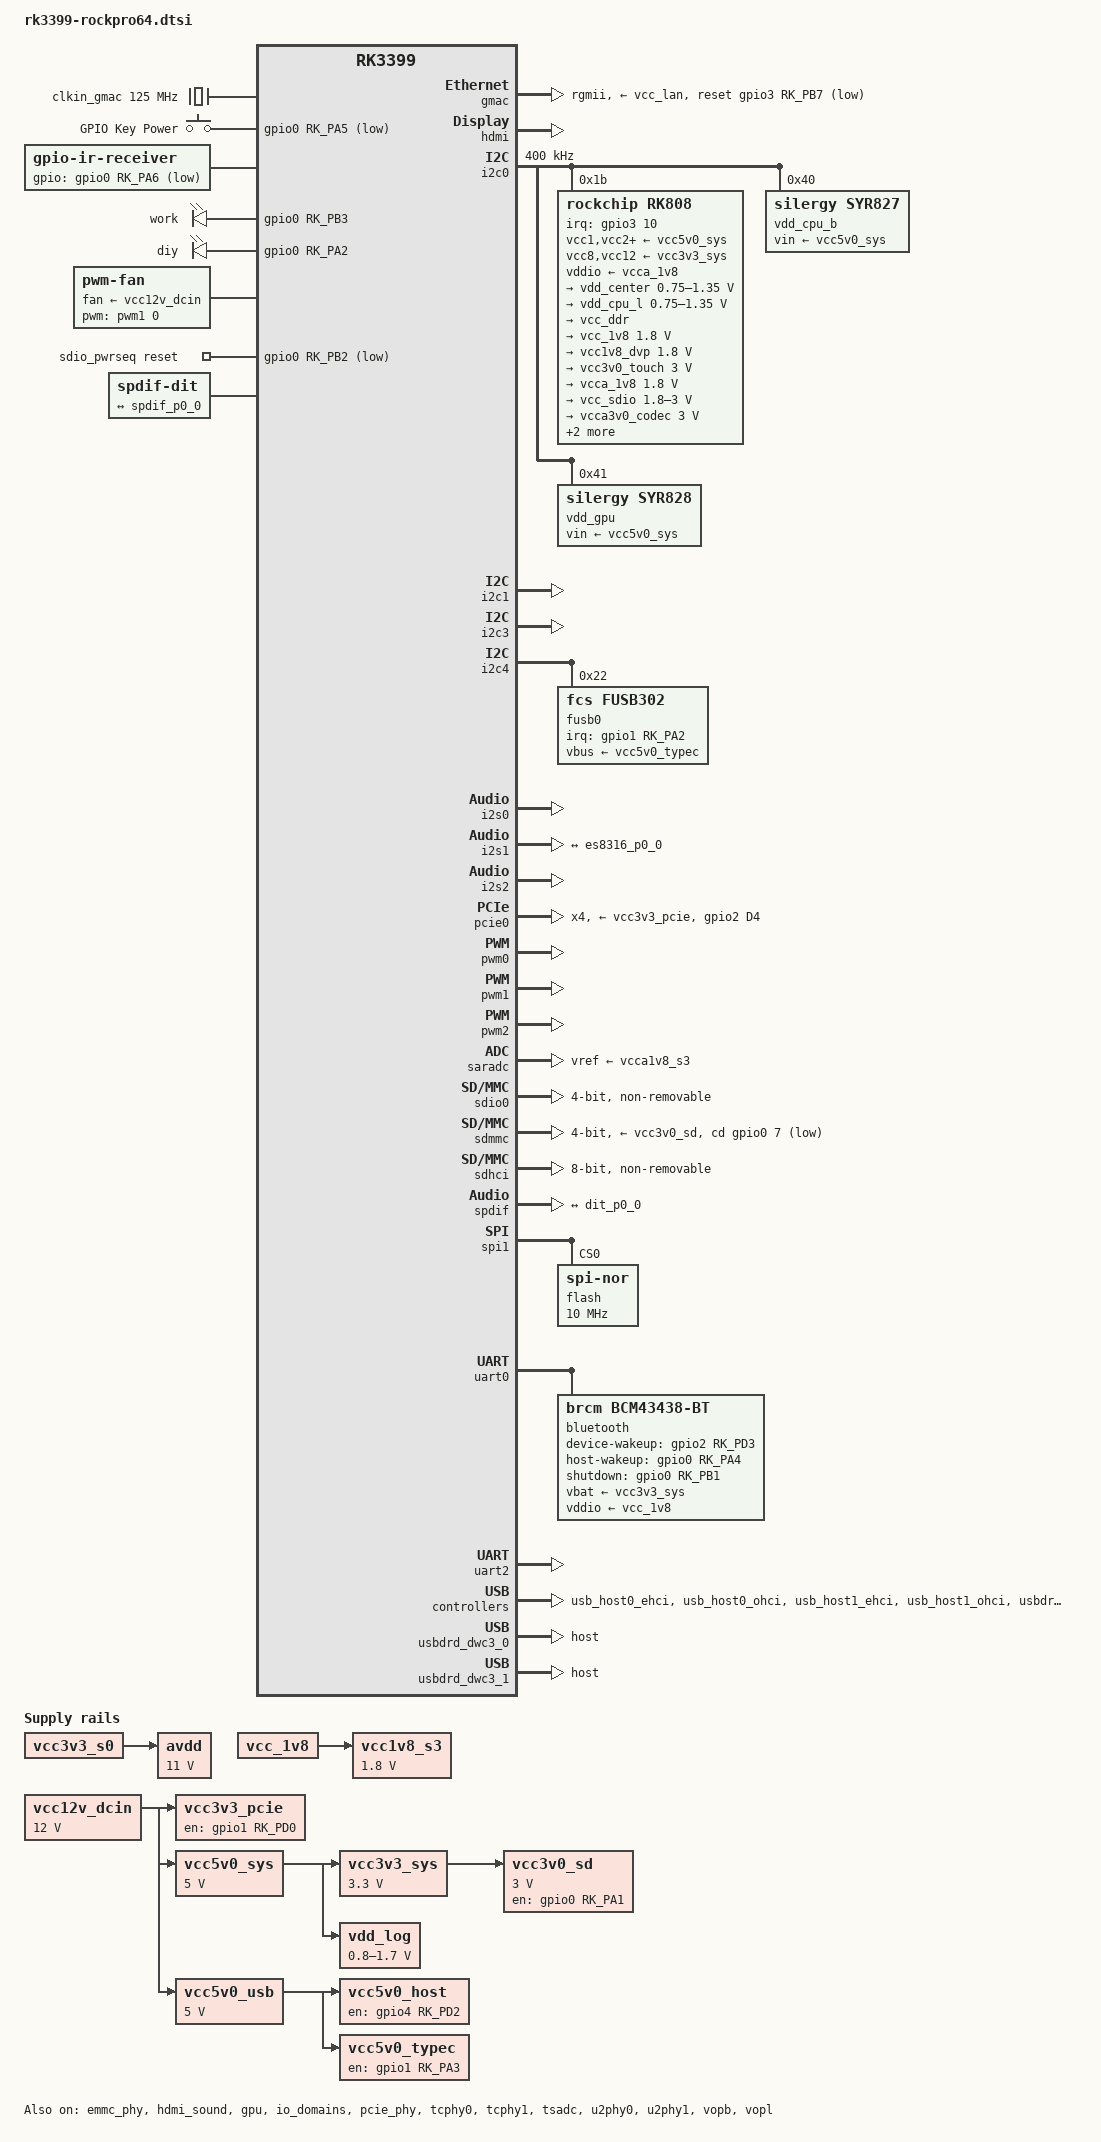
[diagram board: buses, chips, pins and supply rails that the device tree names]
// SPDX-License-Identifier: (GPL-2.0+ OR MIT)
/*
 * Copyright (c) 2017 Fuzhou Rockchip Electronics Co., Ltd.
 * Copyright (c) 2018 Akash Gajjar <Akash_Gajjar@mentor.com>
 */

#include <dt-bindings/input/linux-event-codes.h>
#include <dt-bindings/pwm/pwm.h>
#include "rk3399.dtsi"

/ {
	aliases {
		ethernet0 = &gmac;
		mmc0 = &sdio0;
		mmc1 = &sdmmc;
		mmc2 = &sdhci;
	};

	chosen {
		stdout-path = "serial2:1500000n8";
	};

	/* enable for panel backlight support */
	backlight: backlight {
		compatible = "pwm-backlight";
		brightness-levels = <0 4 8 16 32 64 128 255>;
		default-brightness-level = <5>;
		pwms = <&pwm0 0 1000000 0>;
		status = "disabled";
	};

	clkin_gmac: external-gmac-clock {
		compatible = "fixed-clock";
		clock-frequency = <125000000>;
		clock-output-names = "clkin_gmac";
		#clock-cells = <0>;
	};

	gpio-keys {
		compatible = "gpio-keys";
		autorepeat;
		pinctrl-names = "default";
		pinctrl-0 = <&pwrbtn>;

		key-power {
			debounce-interval = <100>;
			gpios = <&gpio0 RK_PA5 GPIO_ACTIVE_LOW>;
			label = "GPIO Key Power";
			linux,code = <KEY_POWER>;
			wakeup-source;
		};
	};

	ir-receiver {
		compatible = "gpio-ir-receiver";
		gpios = <&gpio0 RK_PA6 GPIO_ACTIVE_LOW>;
		pinctrl-0 = <&ir_int>;
		pinctrl-names = "default";
	};

	leds {
		compatible = "gpio-leds";
		pinctrl-names = "default";
		pinctrl-0 = <&work_led_pin>, <&diy_led_pin>;

		work_led: led-0 {
			label = "work";
			default-state = "on";
			gpios = <&gpio0 RK_PB3 GPIO_ACTIVE_HIGH>;
		};

		diy_led: led-1 {
			label = "diy";
			default-state = "off";
			gpios = <&gpio0 RK_PA2 GPIO_ACTIVE_HIGH>;
		};
	};

	fan: pwm-fan {
		compatible = "pwm-fan";
		cooling-levels = <0 100 150 200 255>;
		#cooling-cells = <2>;
		fan-supply = <&vcc12v_dcin>;
		pwms = <&pwm1 0 50000 0>;
	};

	sdio_pwrseq: sdio-pwrseq {
		compatible = "mmc-pwrseq-simple";
		clocks = <&rk808 1>;
		clock-names = "ext_clock";
		pinctrl-names = "default";
		pinctrl-0 = <&wifi_enable_h>;
		reset-gpios = <&gpio0 RK_PB2 GPIO_ACTIVE_LOW>;
	};

	sound {
		compatible = "audio-graph-card";
		label = "Analog";
		dais = <&i2s1_p0>;
	};

	sound-dit {
		compatible = "audio-graph-card";
		label = "SPDIF";
		dais = <&spdif_p0>;
	};

	spdif-dit {
		compatible = "linux,spdif-dit";
		#sound-dai-cells = <0>;

		port {
			dit_p0_0: endpoint {
				remote-endpoint = <&spdif_p0_0>;
			};
		};
	};

	avdd: regulator-avdd {
		compatible = "regulator-fixed";
		regulator-name = "avdd";
		regulator-min-microvolt = <11000000>;
		regulator-max-microvolt = <11000000>;
		vin-supply = <&vcc3v3_s0>;
	};

	vcc12v_dcin: regulator-vcc12v-dcin {
		compatible = "regulator-fixed";
		regulator-name = "vcc12v_dcin";
		regulator-always-on;
		regulator-boot-on;
		regulator-min-microvolt = <12000000>;
		regulator-max-microvolt = <12000000>;
	};

	/* switched by pmic_sleep */
	vcc1v8_s3: vcca1v8_s3: regulator-vcc1v8-s3 {
		compatible = "regulator-fixed";
		regulator-name = "vcc1v8_s3";
		regulator-always-on;
		regulator-boot-on;
		regulator-min-microvolt = <1800000>;
		regulator-max-microvolt = <1800000>;
		vin-supply = <&vcc_1v8>;
	};

	/* micro SD card power */
	vcc3v0_sd: regulator-vcc3v0-sd {
		compatible = "regulator-fixed";
		enable-active-high;
		gpio = <&gpio0 RK_PA1 GPIO_ACTIVE_HIGH>;
		pinctrl-names = "default";
		pinctrl-0 = <&sdmmc0_pwr_h>;
		regulator-name = "vcc3v0_sd";
		regulator-always-on;
		regulator-min-microvolt = <3000000>;
		regulator-max-microvolt = <3000000>;
		vin-supply = <&vcc3v3_sys>;

		regulator-state-mem {
			regulator-off-in-suspend;
		};
	};

	vcc3v3_pcie: regulator-vcc3v3-pcie {
		compatible = "regulator-fixed";
		enable-active-high;
		gpio = <&gpio1 RK_PD0 GPIO_ACTIVE_HIGH>;
		pinctrl-names = "default";
		pinctrl-0 = <&pcie_pwr_en>;
		regulator-name = "vcc3v3_pcie";
		regulator-always-on;
		regulator-boot-on;
		vin-supply = <&vcc12v_dcin>;
	};

	vcc3v3_sys: regulator-vcc3v3-sys {
		compatible = "regulator-fixed";
		regulator-name = "vcc3v3_sys";
		regulator-always-on;
		regulator-boot-on;
		regulator-min-microvolt = <3300000>;
		regulator-max-microvolt = <3300000>;
		vin-supply = <&vcc5v0_sys>;
	};

	/* Actually 3 regulators (host0, 1, 2) controlled by the same gpio */
	vcc5v0_host: regulator-vcc5v0-host {
		compatible = "regulator-fixed";
		enable-active-high;
		gpio = <&gpio4 RK_PD2 GPIO_ACTIVE_HIGH>;
		pinctrl-names = "default";
		pinctrl-0 = <&vcc5v0_host_en>;
		regulator-name = "vcc5v0_host";
		regulator-always-on;
		vin-supply = <&vcc5v0_usb>;
	};

	vcc5v0_typec: regulator-vcc5v0-typec {
		compatible = "regulator-fixed";
		enable-active-high;
		gpio = <&gpio1 RK_PA3 GPIO_ACTIVE_HIGH>;
		pinctrl-names = "default";
		pinctrl-0 = <&vcc5v0_typec_en>;
		regulator-name = "vcc5v0_typec";
		regulator-always-on;
		vin-supply = <&vcc5v0_usb>;
	};

	vcc5v0_sys: regulator-vcc5v0-sys {
		compatible = "regulator-fixed";
		regulator-name = "vcc5v0_sys";
		regulator-always-on;
		regulator-boot-on;
		regulator-min-microvolt = <5000000>;
		regulator-max-microvolt = <5000000>;
		vin-supply = <&vcc12v_dcin>;
	};

	vcc5v0_usb: regulator-vcc5v0-usb {
		compatible = "regulator-fixed";
		regulator-name = "vcc5v0_usb";
		regulator-always-on;
		regulator-boot-on;
		regulator-min-microvolt = <5000000>;
		regulator-max-microvolt = <5000000>;
		vin-supply = <&vcc12v_dcin>;
	};

	vdd_log: regulator-vdd-log {
		compatible = "pwm-regulator";
		pwms = <&pwm2 0 25000 1>;
		pwm-supply = <&vcc5v0_sys>;
		regulator-name = "vdd_log";
		regulator-always-on;
		regulator-boot-on;
		regulator-min-microvolt = <800000>;
		regulator-max-microvolt = <1700000>;
	};
};

&cpu_l0 {
	cpu-supply = <&vdd_cpu_l>;
};

&cpu_l1 {
	cpu-supply = <&vdd_cpu_l>;
};

&cpu_l2 {
	cpu-supply = <&vdd_cpu_l>;
};

&cpu_l3 {
	cpu-supply = <&vdd_cpu_l>;
};

&cpu_b0 {
	cpu-supply = <&vdd_cpu_b>;
};

&cpu_b1 {
	cpu-supply = <&vdd_cpu_b>;
};

&cpu_thermal {
	trips {
		cpu_warm: cpu_warm {
			temperature = <55000>;
			hysteresis = <2000>;
			type = "active";
		};

		cpu_hot: cpu_hot {
			temperature = <65000>;
			hysteresis = <2000>;
			type = "active";
		};
	};

	cooling-maps {
		map2 {
			trip = <&cpu_warm>;
			cooling-device = <&fan THERMAL_NO_LIMIT 1>;
		};

		map3 {
			trip = <&cpu_hot>;
			cooling-device = <&fan 2 THERMAL_NO_LIMIT>;
		};
	};
};

&emmc_phy {
	status = "okay";
};

&gmac {
	assigned-clocks = <&cru SCLK_RMII_SRC>;
	assigned-clock-parents = <&clkin_gmac>;
	clock_in_out = "input";
	phy-supply = <&vcc_lan>;
	phy-mode = "rgmii";
	pinctrl-names = "default";
	pinctrl-0 = <&rgmii_pins>;
	snps,reset-gpio = <&gpio3 RK_PB7 GPIO_ACTIVE_LOW>;
	snps,reset-active-low;
	snps,reset-delays-us = <0 10000 50000>;
	tx_delay = <0x28>;
	rx_delay = <0x11>;
	status = "okay";
};

&hdmi {
	ddc-i2c-bus = <&i2c3>;
	pinctrl-names = "default";
	pinctrl-0 = <&hdmi_cec>;
	status = "okay";
};

&hdmi_sound {
	status = "okay";
};

&gpu {
	mali-supply = <&vdd_gpu>;
	status = "okay";
};

&i2c0 {
	clock-frequency = <400000>;
	i2c-scl-rising-time-ns = <168>;
	i2c-scl-falling-time-ns = <4>;
	status = "okay";

	rk808: pmic@1b {
		compatible = "rockchip,rk808";
		reg = <0x1b>;
		interrupt-parent = <&gpio3>;
		interrupts = <10 IRQ_TYPE_LEVEL_LOW>;
		#clock-cells = <1>;
		clock-output-names = "xin32k", "rk808-clkout2";
		pinctrl-names = "default";
		pinctrl-0 = <&pmic_int_l>;
		system-power-controller;
		wakeup-source;

		vcc1-supply = <&vcc5v0_sys>;
		vcc2-supply = <&vcc5v0_sys>;
		vcc3-supply = <&vcc5v0_sys>;
		vcc4-supply = <&vcc5v0_sys>;
		vcc6-supply = <&vcc5v0_sys>;
		vcc7-supply = <&vcc5v0_sys>;
		vcc8-supply = <&vcc3v3_sys>;
		vcc9-supply = <&vcc5v0_sys>;
		vcc10-supply = <&vcc5v0_sys>;
		vcc11-supply = <&vcc5v0_sys>;
		vcc12-supply = <&vcc3v3_sys>;
		vddio-supply = <&vcca_1v8>;

		regulators {
			vdd_center: DCDC_REG1 {
				regulator-name = "vdd_center";
				regulator-always-on;
				regulator-boot-on;
				regulator-min-microvolt = <750000>;
				regulator-max-microvolt = <1350000>;
				regulator-ramp-delay = <6001>;
				regulator-state-mem {
					regulator-off-in-suspend;
				};
			};

			vdd_cpu_l: DCDC_REG2 {
				regulator-name = "vdd_cpu_l";
				regulator-always-on;
				regulator-boot-on;
				regulator-min-microvolt = <750000>;
				regulator-max-microvolt = <1350000>;
				regulator-ramp-delay = <6001>;
				regulator-state-mem {
					regulator-off-in-suspend;
				};
			};

			vcc_ddr: DCDC_REG3 {
				regulator-name = "vcc_ddr";
				regulator-always-on;
				regulator-boot-on;
				regulator-state-mem {
					regulator-on-in-suspend;
				};
			};

			vcc_1v8: DCDC_REG4 {
				regulator-name = "vcc_1v8";
				regulator-always-on;
				regulator-boot-on;
				regulator-min-microvolt = <1800000>;
				regulator-max-microvolt = <1800000>;
				regulator-state-mem {
					regulator-on-in-suspend;
					regulator-suspend-microvolt = <1800000>;
				};
			};

			vcc1v8_dvp: LDO_REG1 {
				regulator-name = "vcc1v8_dvp";
				regulator-always-on;
				regulator-boot-on;
				regulator-min-microvolt = <1800000>;
				regulator-max-microvolt = <1800000>;
				regulator-state-mem {
					regulator-off-in-suspend;
				};
			};

			vcc3v0_touch: LDO_REG2 {
				regulator-name = "vcc3v0_touch";
				regulator-min-microvolt = <3000000>;
				regulator-max-microvolt = <3000000>;
				regulator-state-mem {
					regulator-off-in-suspend;
				};
			};

			vcca_1v8: LDO_REG3 {
				regulator-name = "vcca_1v8";
				regulator-always-on;
				regulator-boot-on;
				regulator-min-microvolt = <1800000>;
				regulator-max-microvolt = <1800000>;
				regulator-state-mem {
					regulator-on-in-suspend;
					regulator-suspend-microvolt = <1800000>;
				};
			};

			vcc_sdio: LDO_REG4 {
				regulator-name = "vcc_sdio";
				regulator-always-on;
				regulator-boot-on;
				regulator-min-microvolt = <1800000>;
				regulator-max-microvolt = <3000000>;
				regulator-state-mem {
					regulator-on-in-suspend;
					regulator-suspend-microvolt = <3000000>;
				};
			};

			vcca3v0_codec: LDO_REG5 {
				regulator-name = "vcca3v0_codec";
				regulator-always-on;
				regulator-boot-on;
				regulator-min-microvolt = <3000000>;
				regulator-max-microvolt = <3000000>;
				regulator-state-mem {
					regulator-off-in-suspend;
				};
			};

			vcc_1v5: LDO_REG6 {
				regulator-name = "vcc_1v5";
				regulator-always-on;
				regulator-boot-on;
				regulator-min-microvolt = <1500000>;
				regulator-max-microvolt = <1500000>;
				regulator-state-mem {
					regulator-on-in-suspend;
					regulator-suspend-microvolt = <1500000>;
				};
			};

			vcca1v8_codec: LDO_REG7 {
				regulator-name = "vcca1v8_codec";
				regulator-always-on;
				regulator-boot-on;
				regulator-min-microvolt = <1800000>;
				regulator-max-microvolt = <1800000>;
				regulator-state-mem {
					regulator-off-in-suspend;
				};
			};

			vcc_3v0: LDO_REG8 {
				regulator-name = "vcc_3v0";
				regulator-always-on;
				regulator-boot-on;
				regulator-min-microvolt = <3000000>;
				regulator-max-microvolt = <3000000>;
				regulator-state-mem {
					regulator-on-in-suspend;
					regulator-suspend-microvolt = <3000000>;
				};
			};

			vcc3v3_s3: vcc_lan: SWITCH_REG1 {
				regulator-name = "vcc3v3_s3";
				regulator-always-on;
				regulator-boot-on;
				regulator-state-mem {
					regulator-off-in-suspend;
				};
			};

			vcc3v3_s0: SWITCH_REG2 {
				regulator-name = "vcc3v3_s0";
				regulator-state-mem {
					regulator-off-in-suspend;
				};
			};
		};
	};

	vdd_cpu_b: regulator@40 {
		compatible = "silergy,syr827";
		reg = <0x40>;
		fcs,suspend-voltage-selector = <1>;
		pinctrl-names = "default";
		pinctrl-0 = <&vsel1_pin>;
		regulator-name = "vdd_cpu_b";
		regulator-min-microvolt = <712500>;
		regulator-max-microvolt = <1500000>;
		regulator-ramp-delay = <1000>;
		regulator-always-on;
		regulator-boot-on;
		vin-supply = <&vcc5v0_sys>;

		regulator-state-mem {
			regulator-off-in-suspend;
		};
	};

	vdd_gpu: regulator@41 {
		compatible = "silergy,syr828";
		reg = <0x41>;
		fcs,suspend-voltage-selector = <1>;
		pinctrl-names = "default";
		pinctrl-0 = <&vsel2_pin>;
		regulator-name = "vdd_gpu";
		regulator-min-microvolt = <712500>;
		regulator-max-microvolt = <1500000>;
		regulator-ramp-delay = <1000>;
		regulator-always-on;
		regulator-boot-on;
		vin-supply = <&vcc5v0_sys>;

		regulator-state-mem {
			regulator-off-in-suspend;
		};
	};
};

&i2c1 {
	i2c-scl-rising-time-ns = <300>;
	i2c-scl-falling-time-ns = <15>;
	status = "okay";
};

&i2c3 {
	i2c-scl-rising-time-ns = <450>;
	i2c-scl-falling-time-ns = <15>;
	status = "okay";
};

&i2c4 {
	i2c-scl-rising-time-ns = <600>;
	i2c-scl-falling-time-ns = <20>;
	status = "okay";

	fusb0: typec-portc@22 {
		compatible = "fcs,fusb302";
		reg = <0x22>;
		interrupt-parent = <&gpio1>;
		interrupts = <RK_PA2 IRQ_TYPE_LEVEL_LOW>;
		pinctrl-names = "default";
		pinctrl-0 = <&fusb0_int>;
		vbus-supply = <&vcc5v0_typec>;
		status = "okay";
	};

	/* enable for pine64 touch screen support */
	touch: touchscreen@5d {
		compatible = "goodix,gt911";
		reg = <0x5d>;
		interrupt-parent = <&gpio4>;
		interrupts = <RK_PD5 IRQ_TYPE_EDGE_FALLING>;
		AVDD28-supply = <&vcc3v0_touch>;
		VDDIO-supply = <&vcc3v0_touch>;
		irq-gpios = <&gpio4 RK_PD5 GPIO_ACTIVE_HIGH>;
		reset-gpios = <&gpio4 RK_PD6 GPIO_ACTIVE_HIGH>;
		status = "disabled";
	};
};

&i2s0 {
	rockchip,playback-channels = <8>;
	rockchip,capture-channels = <8>;
	status = "okay";
};

&i2s1 {
	rockchip,playback-channels = <2>;
	rockchip,capture-channels = <2>;
	status = "okay";

	i2s1_p0: port {
		i2s1_p0_0: endpoint {
			dai-format = "i2s";
			mclk-fs = <256>;
			remote-endpoint = <&es8316_p0_0>;
		};
	};
};

&i2s2 {
	status = "okay";
};

&io_domains {
	status = "okay";

	bt656-supply = <&vcc1v8_dvp>;
	audio-supply = <&vcc_3v0>;
	sdmmc-supply = <&vcc_sdio>;
	gpio1830-supply = <&vcc_3v0>;
};

/* enable for pine64 panel display support */
&mipi_dsi {
	clock-master;
	status = "disabled";

	ports {
		mipi_out: port@1 {
			reg = <1>;

			mipi_out_panel: endpoint {
				remote-endpoint = <&mipi_in_panel>;
			};
		};
	};

	mipi_panel: panel@0 {
		compatible = "feiyang,fy07024di26a30d";
		reg = <0>;
		avdd-supply = <&avdd>;
		backlight = <&backlight>;
		dvdd-supply = <&vcc3v3_s0>;

		port {
			mipi_in_panel: endpoint {
				remote-endpoint = <&mipi_out_panel>;
			};
		};
	};
};

&pcie0 {
	ep-gpios = <&gpio2 RK_PD4 GPIO_ACTIVE_HIGH>;
	num-lanes = <4>;
	pinctrl-names = "default";
	pinctrl-0 = <&pcie_perst>;
	vpcie12v-supply = <&vcc12v_dcin>;
	vpcie3v3-supply = <&vcc3v3_pcie>;
	status = "okay";
};

&pcie_phy {
	status = "okay";
};

&pmu_io_domains {
	pmu1830-supply = <&vcc_3v0>;
	status = "okay";
};

&pinctrl {
	bt {
		bt_enable_h: bt-enable-h {
			rockchip,pins = <0 RK_PB1 RK_FUNC_GPIO &pcfg_pull_none>;
		};

		bt_host_wake_l: bt-host-wake-l {
			rockchip,pins = <0 RK_PA4 RK_FUNC_GPIO &pcfg_pull_down>;
		};

		bt_wake_l: bt-wake-l {
			rockchip,pins = <2 RK_PD3 RK_FUNC_GPIO &pcfg_pull_none>;
		};
	};

	buttons {
		pwrbtn: pwrbtn {
			rockchip,pins = <0 RK_PA5 RK_FUNC_GPIO &pcfg_pull_up>;
		};
	};

	fusb302x {
		fusb0_int: fusb0-int {
			rockchip,pins = <1 RK_PA2 RK_FUNC_GPIO &pcfg_pull_up>;
		};
	};

	ir {
		ir_int: ir-int {
			rockchip,pins = <0 RK_PA6 RK_FUNC_GPIO &pcfg_pull_none>;
		};
	};

	leds {
		work_led_pin: work-led-pin {
			rockchip,pins = <0 RK_PB3 RK_FUNC_GPIO &pcfg_pull_none>;
		};

		diy_led_pin: diy-led-pin {
			rockchip,pins = <0 RK_PA2 RK_FUNC_GPIO &pcfg_pull_none>;
		};
	};

	pcie {
		pcie_perst: pcie-perst {
			rockchip,pins = <2 RK_PD4 RK_FUNC_GPIO &pcfg_pull_none>;
		};

		pcie_pwr_en: pcie-pwr-en {
			rockchip,pins = <1 RK_PD0 RK_FUNC_GPIO &pcfg_pull_none>;
		};
	};

	pmic {
		pmic_int_l: pmic-int-l {
			rockchip,pins = <3 RK_PB2 RK_FUNC_GPIO &pcfg_pull_up>;
		};

		vsel1_pin: vsel1-pin {
			rockchip,pins = <1 RK_PC1 RK_FUNC_GPIO &pcfg_pull_down>;
		};

		vsel2_pin: vsel2-pin {
			rockchip,pins = <1 RK_PB6 RK_FUNC_GPIO &pcfg_pull_down>;
		};
	};

	sdcard {
		sdmmc0_pwr_h: sdmmc0-pwr-h {
			rockchip,pins = <0 RK_PA1 RK_FUNC_GPIO &pcfg_pull_none>;
		};

	};

	sdio-pwrseq {
		wifi_enable_h: wifi-enable-h {
			rockchip,pins = <0 RK_PB2 RK_FUNC_GPIO &pcfg_pull_none>;
		};
	};

	usb-typec {
		vcc5v0_typec_en: vcc5v0_typec_en {
			rockchip,pins = <1 RK_PA3 RK_FUNC_GPIO &pcfg_pull_up>;
		};
	};

	usb2 {
		vcc5v0_host_en: vcc5v0-host-en {
			rockchip,pins = <4 RK_PD2 RK_FUNC_GPIO &pcfg_pull_none>;
		};
	};
};

&pwm0 {
	status = "okay";
};

&pwm1 {
	status = "okay";
};

&pwm2 {
	status = "okay";
};

&saradc {
	vref-supply = <&vcca1v8_s3>;
	status = "okay";
};

&sdio0 {
	bus-width = <4>;
	cap-sd-highspeed;
	cap-sdio-irq;
	disable-wp;
	keep-power-in-suspend;
	mmc-pwrseq = <&sdio_pwrseq>;
	non-removable;
	pinctrl-names = "default";
	pinctrl-0 = <&sdio0_bus4 &sdio0_cmd &sdio0_clk>;
	sd-uhs-sdr104;
	status = "okay";
};

&sdmmc {
	bus-width = <4>;
	cap-sd-highspeed;
	cd-gpios = <&gpio0 7 GPIO_ACTIVE_LOW>;
	disable-wp;
	max-frequency = <150000000>;
	pinctrl-names = "default";
	pinctrl-0 = <&sdmmc_clk &sdmmc_cmd &sdmmc_bus4>;
	vmmc-supply = <&vcc3v0_sd>;
	vqmmc-supply = <&vcc_sdio>;
	status = "okay";
};

&sdhci {
	bus-width = <8>;
	mmc-hs200-1_8v;
	non-removable;
	status = "okay";
};

&spdif {
	pinctrl-0 = <&spdif_bus_1>;

	spdif_p0: port {
		spdif_p0_0: endpoint {
			remote-endpoint = <&dit_p0_0>;
		};
	};
};

&spi1 {
	status = "okay";

	flash@0 {
		compatible = "jedec,spi-nor";
		reg = <0>;
		spi-max-frequency = <10000000>;
	};
};

&tcphy0 {
	status = "okay";
};

&tcphy1 {
	status = "okay";
};

&tsadc {
	/* tshut mode 0:CRU 1:GPIO */
	rockchip,hw-tshut-mode = <1>;
	/* tshut polarity 0:LOW 1:HIGH */
	rockchip,hw-tshut-polarity = <1>;
	status = "okay";
};

&u2phy0 {
	status = "okay";

	u2phy0_otg: otg-port {
		status = "okay";
	};

	u2phy0_host: host-port {
		phy-supply = <&vcc5v0_host>;
		status = "okay";
	};
};

&u2phy1 {
	status = "okay";

	u2phy1_otg: otg-port {
		status = "okay";
	};

	u2phy1_host: host-port {
		phy-supply = <&vcc5v0_host>;
		status = "okay";
	};
};

&uart0 {
	pinctrl-names = "default";
	pinctrl-0 = <&uart0_xfer &uart0_cts &uart0_rts>;
	status = "okay";

	bluetooth {
		compatible = "brcm,bcm43438-bt";
		clocks = <&rk808 1>;
		clock-names = "lpo";
		device-wakeup-gpios = <&gpio2 RK_PD3 GPIO_ACTIVE_HIGH>;
		host-wakeup-gpios = <&gpio0 RK_PA4 GPIO_ACTIVE_HIGH>;
		shutdown-gpios = <&gpio0 RK_PB1 GPIO_ACTIVE_HIGH>;
		pinctrl-names = "default";
		pinctrl-0 = <&bt_host_wake_l &bt_wake_l &bt_enable_h>;
		vbat-supply = <&vcc3v3_sys>;
		vddio-supply = <&vcc_1v8>;
	};
};

&uart2 {
	status = "okay";
};

&usb_host0_ehci {
	status = "okay";
};

&usb_host0_ohci {
	status = "okay";
};

&usb_host1_ehci {
	status = "okay";
};

&usb_host1_ohci {
	status = "okay";
};

&usbdrd3_0 {
	status = "okay";
};

&usbdrd_dwc3_0 {
	status = "okay";
	dr_mode = "host";
};

&usbdrd3_1 {
	status = "okay";
};

&usbdrd_dwc3_1 {
	status = "okay";
	dr_mode = "host";
};

&vopb {
	status = "okay";
};

&vopb_mmu {
	status = "okay";
};

&vopl {
	status = "okay";
};

&vopl_mmu {
	status = "okay";
};
